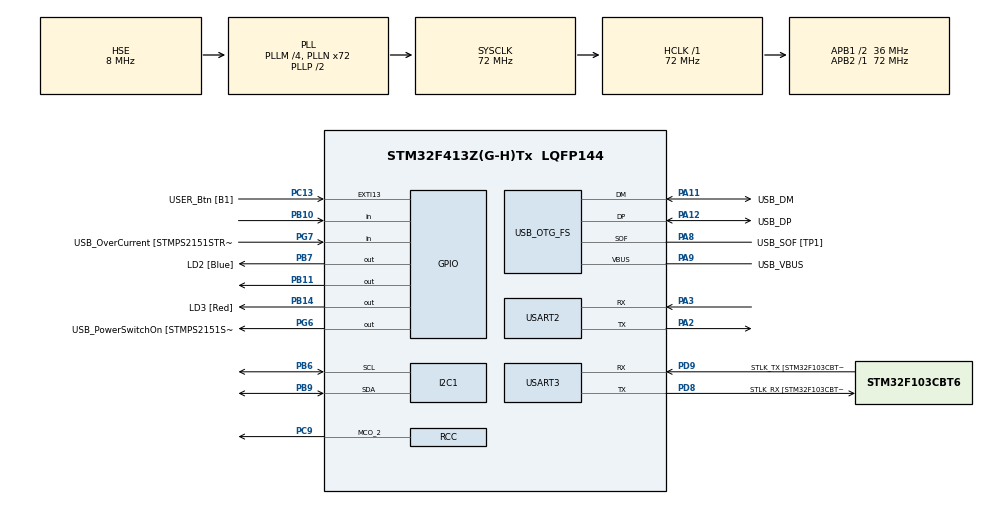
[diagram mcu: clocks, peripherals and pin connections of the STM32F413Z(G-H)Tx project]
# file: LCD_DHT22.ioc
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Mcu.Family=STM32F4
Mcu.Name=STM32F413Z(G-H)Tx
Mcu.Package=LQFP144
NVIC.PriorityGroup=NVIC_PRIORITYGROUP_4
NVIC.USART2_IRQn=true\:0\:0\:false\:false\:true\:true\:true
NVIC.USART3_IRQn=true\:0\:0\:false\:false\:true\:true\:true
PA10.GPIO_Label=USB_ID
PA10.Signal=USB_OTG_FS_ID
PA11.GPIO_Label=USB_DM
PA11.Mode=Device_Only
PA11.Signal=USB_OTG_FS_DM
PA12.GPIO_Label=USB_DP
PA12.Mode=Device_Only
PA12.Signal=USB_OTG_FS_DP
PA13.GPIO_Label=TMS
PA13.Mode=Serial_Wire
PA13.Signal=SYS_JTMS-SWDIO
PA14.GPIO_Label=TCK
PA14.Mode=Serial_Wire
PA14.Signal=SYS_JTCK-SWCLK
PA2.Mode=Asynchronous
PA2.Signal=USART2_TX
PA3.Mode=Asynchronous
PA3.Signal=USART2_RX
PA8.GPIO_Label=USB_SOF [TP1]
PA8.Mode=Activate_SOF_FS
PA8.Signal=USB_OTG_FS_SOF
PA9.GPIO_Label=USB_VBUS
PA9.Mode=Activate_VBUS
PA9.Signal=USB_OTG_FS_VBUS
PB10.Signal=GPIO_Input
PB11.Signal=GPIO_Output
PB14.GPIO_Label=LD3 [Red]
PB14.Signal=GPIO_Output
PB3.GPIO_Label=SWO
PB3.Signal=SYS_JTDO-SWO
PB6.Mode=I2C
PB6.Signal=I2C1_SCL
PB7.GPIO_Label=LD2 [Blue]
PB7.Signal=GPIO_Output
PB9.Mode=I2C
PB9.Signal=I2C1_SDA
PC13.GPIO_Label=USER_Btn [B1]
PC13.Signal=GPXTI13
PC14-OSC32_IN.Signal=RCC_OSC32_IN
PC15-OSC32_OUT.Signal=RCC_OSC32_OUT
PC9.Mode=Clock-out-2
PC9.Signal=RCC_MCO_2
PD8.GPIO_Label=STLK_RX [STM32F103CBT6_PA3]
PD8.Mode=Asynchronous
PD8.Signal=USART3_TX
PD9.GPIO_Label=STLK_TX [STM32F103CBT6_PA2]
PD9.Mode=Asynchronous
PD9.Signal=USART3_RX
PG6.GPIO_Label=USB_PowerSwitchOn [STMPS2151STR_EN]
PG6.Signal=GPIO_Output
PG7.GPIO_Label=USB_OverCurrent [STMPS2151STR_FAULT]
PG7.Signal=GPIO_Input
PH0\ -\ OSC_IN.GPIO_Label=MCO
PH0\ -\ OSC_IN.Mode=HSE-External-Oscillator
PH0\ -\ OSC_IN.Signal=RCC_OSC_IN
PH1\ -\ OSC_OUT.Mode=HSE-External-Oscillator
PH1\ -\ OSC_OUT.Signal=RCC_OSC_OUT
ProjectManager.HeapSize=0x200
ProjectManager.StackSize=0x400
ProjectManager.TargetToolchain=MDK-ARM V5
RCC.48MHZClocksFreq_Value=24000000
RCC.AHBFreq_Value=72000000
RCC.APB1CLKDivider=RCC_HCLK_DIV2
RCC.APB1Freq_Value=36000000
RCC.APB1TimFreq_Value=72000000
RCC.APB2Freq_Value=72000000
RCC.APB2TimFreq_Value=72000000
RCC.CortexFreq_Value=72000000
RCC.HCLKFreq_Value=72000000
RCC.HSE_VALUE=8000000
RCC.HSI_VALUE=16000000
RCC.PLLM=4
RCC.PLLMUL=RCC_PLL_MUL9
RCC.PLLN=72
RCC.PLLQ=3
RCC.PRESCALERUSB=RCC_USBCLKSOURCE_PLL_DIV1_5
RCC.SYSCLKFreq_VALUE=72000000
RCC.SYSCLKSource=RCC_SYSCLKSOURCE_PLLCLK
RCC.SYSCLKSourceVirtual=RCC_SYSCLKSOURCE_PLLCLK
RCC.USBFreq_Value=48000000
RCC.VCOOutputFreq_Value=144000000
USART2.VirtualMode=VM_ASYNC
USART3.VirtualMode=VM_ASYNC
USB_OTG_FS.VirtualMode=Device_Only
board=NUCLEO-F413ZH

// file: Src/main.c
/* USER CODE BEGIN Header */
/**
  ******************************************************************************
  * @file           : main.c
  * @brief          : Main program body
  ******************************************************************************
  * @attention
  *
  * <h2><center>&copy; Copyright (c) 2019 STMicroelectronics.
  * All rights reserved.</center></h2>
  *
  * This software component is licensed by ST under BSD 3-Clause license,
  * the "License"; You may not use this file except in compliance with the
  * License. You may obtain a copy of the License at:
  *                        opensource.org/licenses/BSD-3-Clause
  *
  ******************************************************************************
  */
/* USER CODE END Header */

#include "main.h"

/* USER CODE BEGIN Includes */
#include "dwt_stm32_delay.h"
#include <stdio.h>
/* USER CODE END Includes */

GPIO_InitTypeDef GPIO_InitStruct = {0};

	void set_gpio_input (void){
		GPIO_InitStruct.Pin = GPIO_PIN_11;
    GPIO_InitStruct.Mode = GPIO_MODE_INPUT;
    GPIO_InitStruct.Pull = GPIO_NOPULL;
    HAL_GPIO_Init(GPIOB, &GPIO_InitStruct);
	}

  /*Configure GPIO pins : PB11 LD3_Pin LD2_Pin */
	void set_gpio_output (void){
		GPIO_InitStruct.Pin = GPIO_PIN_11|LD3_Pin|LD2_Pin;
    GPIO_InitStruct.Mode = GPIO_MODE_OUTPUT_PP;
    GPIO_InitStruct.Pull = GPIO_NOPULL;
    GPIO_InitStruct.Speed = GPIO_SPEED_FREQ_LOW;
    HAL_GPIO_Init(GPIOB, &GPIO_InitStruct);
	}
I2C_HandleTypeDef hi2c1;

UART_HandleTypeDef huart2;
UART_HandleTypeDef huart3;

PCD_HandleTypeDef hpcd_USB_OTG_FS;

/* USER CODE BEGIN PV */
uint8_t Rh_byte1, Rh_byte2, Temp_byte1, Temp_byte2;
uint16_t sum, RH, TEMP;
uint8_t check=0;
uint8_t temp_1;
uint8_t temp_2;
uint8_t temp_3;
uint8_t rh_1;
uint8_t rh_2;
uint8_t rh_3;

void SystemClock_Config(void);
static void MX_GPIO_Init(void);
static void MX_I2C1_Init(void);

void lcd_send_cmd (char cmd)
{
  char data_u, data_l;
	uint8_t data_t[4];
	data_u = cmd&0xf0;
	data_l = (cmd<<4)&0xf0;
	data_t[0] = data_u|0x04;  //en=1, rs=0
	data_t[1] = data_u;  //en=0, rs=0
	data_t[2] = data_l|0x04;  //en=1, rs=0
	data_t[3] = data_l;  //en=0, rs=0
	HAL_I2C_Master_Transmit (&hi2c1, 0x4E,(uint8_t *) data_t, 4, 100);
}

void lcd_send_data (char data)
{
	char data_u, data_l;
	uint8_t data_t[4];
	data_u = data&0xf0;
	data_l = (data<<4)&0xf0;
	data_t[0] = data_u|0x05;  //en=1, rs=0
	data_t[1] = data_u|0x01;  //en=0, rs=0
	data_t[2] = data_l|0x05;  //en=1, rs=0
	data_t[3] = data_l|0x01;  //en=0, rs=0
	HAL_I2C_Master_Transmit (&hi2c1, 0x4E,(uint8_t *) data_t, 4, 100);
}

void lcd_init (void)
{
	lcd_send_cmd (0x02);
	lcd_send_cmd (0x28);
	lcd_send_cmd (0x0c);
	lcd_send_cmd (0x80);
}

void lcd_send_string (char *str)
{
	while (*str) lcd_send_data (*str++);
}

void dht22_start(void){
  set_gpio_output();
	HAL_GPIO_WritePin(GPIOB, GPIO_PIN_11, 0);
	DWT_Delay_us(500);
	HAL_GPIO_WritePin(GPIOB, GPIO_PIN_11, 1);
	DWT_Delay_us(30);
	set_gpio_input();
}

void check_response (void)
{
	DWT_Delay_us (40);
	if (!(HAL_GPIO_ReadPin (GPIOB, GPIO_PIN_11)))
	{
		DWT_Delay_us (80);
		if ((HAL_GPIO_ReadPin (GPIOB, GPIO_PIN_11))) check = 1;
	}
	while ((HAL_GPIO_ReadPin (GPIOB, GPIO_PIN_11)));   // wait for the pin to go low
}

uint8_t read_data (void)
{
	uint8_t i,j;
	for (j=0;j<8;j++)
	{
		while (!(HAL_GPIO_ReadPin (GPIOB, GPIO_PIN_11)));   // wait for the pin to go high

		DWT_Delay_us (40);   // wait for 40 us
		if ((HAL_GPIO_ReadPin (GPIOB, GPIO_PIN_11)) == 0)   // if the pin is low
		{
			i&= ~(1<<(7-j));   // write 0
		}
		else i|= (1<<(7-j));  // if the pin is high, write 1
		while ((HAL_GPIO_ReadPin (GPIOB, GPIO_PIN_11)));  // wait for the pin to go low
	}
	return i;
}

/* USER CODE END PV */

void SystemClock_Config(void);
static void MX_GPIO_Init(void);
static void MX_I2C1_Init(void);
static void MX_USART3_UART_Init(void);
static void MX_USB_OTG_FS_PCD_Init(void);
static void MX_USART2_UART_Init(void);

int main(void)
{

  /* MCU Configuration--------------------------------------------------------*/

  /* Reset of all peripherals, Initializes the Flash interface and the Systick. */
  HAL_Init();

  /* Configure the system clock */
  SystemClock_Config();

  /* Initialize all configured peripherals */
  MX_GPIO_Init();
  MX_I2C1_Init();
  MX_USART3_UART_Init();
  MX_USB_OTG_FS_PCD_Init();
  MX_USART2_UART_Init();
  /* USER CODE BEGIN 2 */

	DWT_Delay_Init();
	lcd_init();
	uint8_t buffer[264];
	uint8_t bufferStr[512];
	uint8_t bufferStr2[264];
  /* USER CODE END 2 */

  /* Infinite loop */
  while (1)
  {

    /* USER CODE BEGIN 3 */
		dht22_start();
		check_response();
		Rh_byte1 = read_data();
		Rh_byte2 = read_data();
		Temp_byte1 = read_data();
		Temp_byte2 = read_data();
		sum = read_data();

		TEMP = (Temp_byte1<<8)|Temp_byte2;
		RH = (Rh_byte1<<8)|Rh_byte2;

		lcd_send_cmd(0x80);

		//char size = sprintf(buffer, "%d", TEMP);
		int size = sprintf((char*)buffer, "%d %d\n", TEMP, RH);

		temp_1 = (TEMP/100);
		temp_2 = (TEMP%100)/10;
		temp_3 = (TEMP%100)%10;
		rh_1 = (RH/100);
		rh_2 = (RH%100)/10;
		rh_3 = (RH%100)%10;

		if ((HAL_GPIO_ReadPin(GPIOC, GPIO_PIN_0))){
			int size2 = sprintf((char*)bufferStr, "%d%d.%d %d%d1\r\n", temp_1, temp_2, temp_3, rh_1, rh_2);
			HAL_UART_Transmit_IT(&huart2, bufferStr, size2);
			HAL_UART_Transmit_IT(&huart3, bufferStr, size2);
			//while (HAL_GPIO_ReadPin(GPIOC, GPIO_PIN_0));
		} else {
			int size2 = sprintf((char*)bufferStr, "%d%d.%d %d%d0\r\n", temp_1, temp_2, temp_3, rh_1, rh_2);
			HAL_UART_Transmit_IT(&huart2, bufferStr, size2);
			HAL_UART_Transmit_IT(&huart3, bufferStr, size2);
		}

		lcd_send_string("TEMP:- ");
		lcd_send_data((TEMP/100)+48);   // zeig die 10. Zahl
		lcd_send_data(((TEMP%100)/10)+48);   // zeig die Einheiten Zahl
		lcd_send_data('.');  // dezimal
		lcd_send_data((TEMP%10)+48);  // die Zahl nach dem Komma
		lcd_send_data('C');

		lcd_send_cmd(0x80);
		lcd_send_string("RH:- ");
		lcd_send_data((RH/100)+48);
		lcd_send_data(((RH%100)/10)+48);
		lcd_send_data('.');
		lcd_send_data((RH%10)+48);
		lcd_send_data('%');

		HAL_Delay(1000);
  }
  /* USER CODE END 3 */
}

void SystemClock_Config(void)
{
  RCC_OscInitTypeDef RCC_OscInitStruct = {0};
  RCC_ClkInitTypeDef RCC_ClkInitStruct = {0};
  RCC_PeriphCLKInitTypeDef PeriphClkInitStruct = {0};

  /** Configure the main internal regulator output voltage
  */
  __HAL_RCC_PWR_CLK_ENABLE();
  __HAL_PWR_VOLTAGESCALING_CONFIG(PWR_REGULATOR_VOLTAGE_SCALE1);
  /** Initializes the CPU, AHB and APB busses clocks
  */
  RCC_OscInitStruct.OscillatorType = RCC_OSCILLATORTYPE_HSE;
  RCC_OscInitStruct.HSEState = RCC_HSE_ON;
  RCC_OscInitStruct.PLL.PLLState = RCC_PLL_ON;
  RCC_OscInitStruct.PLL.PLLSource = RCC_PLLSOURCE_HSE;
  RCC_OscInitStruct.PLL.PLLM = 4;
  RCC_OscInitStruct.PLL.PLLN = 72;
  RCC_OscInitStruct.PLL.PLLP = RCC_PLLP_DIV2;
  RCC_OscInitStruct.PLL.PLLQ = 3;
  RCC_OscInitStruct.PLL.PLLR = 2;
  if (HAL_RCC_OscConfig(&RCC_OscInitStruct) != HAL_OK)
  {
    Error_Handler();
  }
  /** Initializes the CPU, AHB and APB busses clocks
  */
  RCC_ClkInitStruct.ClockType = RCC_CLOCKTYPE_HCLK|RCC_CLOCKTYPE_SYSCLK
                              |RCC_CLOCKTYPE_PCLK1|RCC_CLOCKTYPE_PCLK2;
  RCC_ClkInitStruct.SYSCLKSource = RCC_SYSCLKSOURCE_PLLCLK;
  RCC_ClkInitStruct.AHBCLKDivider = RCC_SYSCLK_DIV1;
  RCC_ClkInitStruct.APB1CLKDivider = RCC_HCLK_DIV2;
  RCC_ClkInitStruct.APB2CLKDivider = RCC_HCLK_DIV1;

  if (HAL_RCC_ClockConfig(&RCC_ClkInitStruct, FLASH_LATENCY_2) != HAL_OK)
  {
    Error_Handler();
  }
  PeriphClkInitStruct.PeriphClockSelection = RCC_PERIPHCLK_CLK48;
  PeriphClkInitStruct.Clk48ClockSelection = RCC_CLK48CLKSOURCE_PLLQ;
  if (HAL_RCCEx_PeriphCLKConfig(&PeriphClkInitStruct) != HAL_OK)
  {
    Error_Handler();
  }
  HAL_RCC_MCOConfig(RCC_MCO2, RCC_MCO2SOURCE_SYSCLK, RCC_MCODIV_1);
}

static void MX_I2C1_Init(void)
{

  hi2c1.Instance = I2C1;
  hi2c1.Init.ClockSpeed = 100000;
  hi2c1.Init.DutyCycle = I2C_DUTYCYCLE_2;
  hi2c1.Init.OwnAddress1 = 0;
  hi2c1.Init.AddressingMode = I2C_ADDRESSINGMODE_7BIT;
  hi2c1.Init.DualAddressMode = I2C_DUALADDRESS_DISABLE;
  hi2c1.Init.OwnAddress2 = 0;
  hi2c1.Init.GeneralCallMode = I2C_GENERALCALL_DISABLE;
  hi2c1.Init.NoStretchMode = I2C_NOSTRETCH_DISABLE;
  if (HAL_I2C_Init(&hi2c1) != HAL_OK)
  {
    Error_Handler();
  }

}

static void MX_USART2_UART_Init(void)
{

  huart2.Instance = USART2;
  huart2.Init.BaudRate = 115200;
  huart2.Init.WordLength = UART_WORDLENGTH_8B;
  huart2.Init.StopBits = UART_STOPBITS_1;
  huart2.Init.Parity = UART_PARITY_NONE;
  huart2.Init.Mode = UART_MODE_TX_RX;
  huart2.Init.HwFlowCtl = UART_HWCONTROL_NONE;
  huart2.Init.OverSampling = UART_OVERSAMPLING_16;
  if (HAL_UART_Init(&huart2) != HAL_OK)
  {
    Error_Handler();
  }

}

static void MX_USART3_UART_Init(void)
{

  huart3.Instance = USART3;
  huart3.Init.BaudRate = 115200;
  huart3.Init.WordLength = UART_WORDLENGTH_8B;
  huart3.Init.StopBits = UART_STOPBITS_1;
  huart3.Init.Parity = UART_PARITY_NONE;
  huart3.Init.Mode = UART_MODE_TX_RX;
  huart3.Init.HwFlowCtl = UART_HWCONTROL_NONE;
  huart3.Init.OverSampling = UART_OVERSAMPLING_16;
  if (HAL_UART_Init(&huart3) != HAL_OK)
  {
    Error_Handler();
  }

}

static void MX_USB_OTG_FS_PCD_Init(void)
{

  hpcd_USB_OTG_FS.Instance = USB_OTG_FS;
  hpcd_USB_OTG_FS.Init.dev_endpoints = 6;
  hpcd_USB_OTG_FS.Init.speed = PCD_SPEED_FULL;
  hpcd_USB_OTG_FS.Init.dma_enable = DISABLE;
  hpcd_USB_OTG_FS.Init.phy_itface = PCD_PHY_EMBEDDED;
  hpcd_USB_OTG_FS.Init.Sof_enable = ENABLE;
  hpcd_USB_OTG_FS.Init.low_power_enable = DISABLE;
  hpcd_USB_OTG_FS.Init.lpm_enable = DISABLE;
  hpcd_USB_OTG_FS.Init.battery_charging_enable = ENABLE;
  hpcd_USB_OTG_FS.Init.vbus_sensing_enable = ENABLE;
  hpcd_USB_OTG_FS.Init.use_dedicated_ep1 = DISABLE;
  if (HAL_PCD_Init(&hpcd_USB_OTG_FS) != HAL_OK)
  {
    Error_Handler();
  }

}

static void MX_GPIO_Init(void)
{

  /* GPIO Ports Clock Enable */
  __HAL_RCC_GPIOC_CLK_ENABLE();
  __HAL_RCC_GPIOH_CLK_ENABLE();
  __HAL_RCC_GPIOB_CLK_ENABLE();
  __HAL_RCC_GPIOD_CLK_ENABLE();
  __HAL_RCC_GPIOG_CLK_ENABLE();
  __HAL_RCC_GPIOA_CLK_ENABLE();

  /*Configure GPIO pin Output Level */
  //HAL_GPIO_WritePin(GPIOB, GPIO_PIN_11|LD3_Pin|LD2_Pin, GPIO_PIN_RESET);

  /*Configure GPIO pin Output Level */
  HAL_GPIO_WritePin(USB_PowerSwitchOn_GPIO_Port, USB_PowerSwitchOn_Pin, GPIO_PIN_RESET);

  /*Configure GPIO pin : USER_Btn_Pin */
  GPIO_InitStruct.Pin = USER_Btn_Pin;
  GPIO_InitStruct.Mode = GPIO_MODE_IT_RISING;
  GPIO_InitStruct.Pull = GPIO_NOPULL;
  HAL_GPIO_Init(USER_Btn_GPIO_Port, &GPIO_InitStruct);

  /*Configure GPIO pin : PB10 */

  /*Configure GPIO pin : USB_PowerSwitchOn_Pin */
  GPIO_InitStruct.Pin = USB_PowerSwitchOn_Pin;
  GPIO_InitStruct.Mode = GPIO_MODE_OUTPUT_PP;
  GPIO_InitStruct.Pull = GPIO_NOPULL;
  GPIO_InitStruct.Speed = GPIO_SPEED_FREQ_LOW;
  HAL_GPIO_Init(USB_PowerSwitchOn_GPIO_Port, &GPIO_InitStruct);

  /*Configure GPIO pin : USB_OverCurrent_Pin */
  GPIO_InitStruct.Pin = USB_OverCurrent_Pin;
  GPIO_InitStruct.Mode = GPIO_MODE_INPUT;
  GPIO_InitStruct.Pull = GPIO_NOPULL;
  HAL_GPIO_Init(USB_OverCurrent_GPIO_Port, &GPIO_InitStruct);

  /*Configure GPIO pin : PC9 */
  GPIO_InitStruct.Pin = GPIO_PIN_9;
  GPIO_InitStruct.Mode = GPIO_MODE_AF_PP;
  GPIO_InitStruct.Pull = GPIO_NOPULL;
  GPIO_InitStruct.Speed = GPIO_SPEED_FREQ_LOW;
  GPIO_InitStruct.Alternate = GPIO_AF0_MCO;
  HAL_GPIO_Init(GPIOC, &GPIO_InitStruct);

}

void Error_Handler(void)
{
}

/************************ (C) COPYRIGHT STMicroelectronics *****END OF FILE****/
